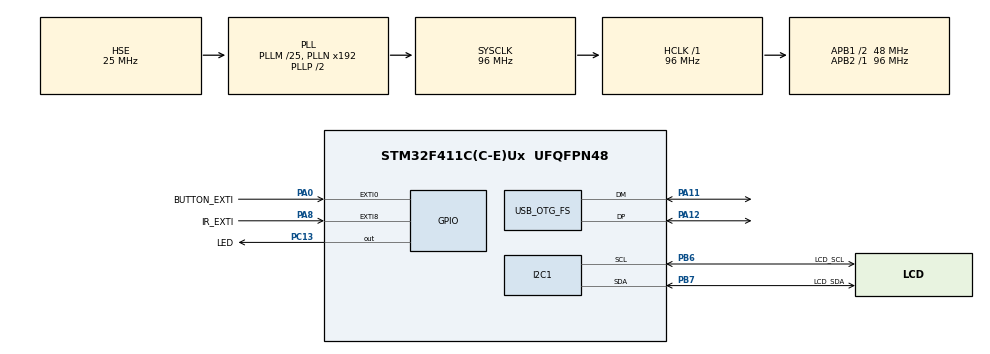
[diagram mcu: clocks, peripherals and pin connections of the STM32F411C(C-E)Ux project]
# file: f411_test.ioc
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FREERTOS.Queues01=usbReceiveQueue,320,uint32_t,0,Dynamic,NULL,NULL
FREERTOS.Tasks01=defaultTask,24,128,StartDefaultTask,Default,NULL,Dynamic,NULL,NULL;usbTask,8,128,StartUsbTask,Default,NULL,Dynamic,NULL,NULL
FREERTOS.configENABLE_FPU=1
FREERTOS.configUSE_NEWLIB_REENTRANT=1
FREERTOS.configUSE_PREEMPTION=1
Mcu.Family=STM32F4
Mcu.Name=STM32F411C(C-E)Ux
Mcu.Package=UFQFPN48
NVIC.EXTI0_IRQn=true\:5\:0\:false\:false\:true\:true\:true\:true\:true
NVIC.EXTI9_5_IRQn=true\:5\:0\:false\:false\:true\:true\:true\:true\:true
NVIC.OTG_FS_IRQn=true\:5\:0\:false\:false\:true\:true\:true\:true\:true
NVIC.PriorityGroup=NVIC_PRIORITYGROUP_4
NVIC.RCC_IRQn=true\:5\:0\:false\:false\:true\:true\:true\:false\:true
NVIC.TIM1_TRG_COM_TIM11_IRQn=true\:15\:0\:false\:false\:true\:false\:false\:true\:true
NVIC.TimeBase=TIM1_TRG_COM_TIM11_IRQn
NVIC.TimeBaseIP=TIM11
PA0-WKUP.GPIO_Label=BUTTON_EXTI
PA0-WKUP.GPIO_ModeDefaultEXTI=GPIO_MODE_IT_FALLING
PA0-WKUP.GPIO_PuPd=GPIO_PULLUP
PA0-WKUP.Signal=GPXTI0
PA11.Mode=Device_Only
PA11.Signal=USB_OTG_FS_DM
PA12.Mode=Device_Only
PA12.Signal=USB_OTG_FS_DP
PA13.Mode=Serial_Wire
PA13.Signal=SYS_JTMS-SWDIO
PA14.Mode=Serial_Wire
PA14.Signal=SYS_JTCK-SWCLK
PA8.GPIO_Label=IR_EXTI
PA8.GPIO_ModeDefaultEXTI=GPIO_MODE_IT_RISING_FALLING
PA8.GPIO_PuPd=GPIO_PULLDOWN
PA8.Signal=GPXTI8
PB6.GPIO_Label=LCD_SCL
PB6.Mode=I2C
PB6.Signal=I2C1_SCL
PB7.GPIO_Label=LCD_SDA
PB7.Mode=I2C
PB7.Signal=I2C1_SDA
PC13-ANTI_TAMP.GPIO_Label=LED
PC13-ANTI_TAMP.Signal=GPIO_Output
PH0\ -\ OSC_IN.Mode=HSE-External-Oscillator
PH0\ -\ OSC_IN.Signal=RCC_OSC_IN
PH1\ -\ OSC_OUT.Mode=HSE-External-Oscillator
PH1\ -\ OSC_OUT.Signal=RCC_OSC_OUT
ProjectManager.HeapSize=0x200
ProjectManager.StackSize=0x400
ProjectManager.TargetToolchain=STM32CubeIDE
RCC.48MHZClocksFreq_Value=48000000
RCC.AHBFreq_Value=96000000
RCC.APB1CLKDivider=RCC_HCLK_DIV2
RCC.APB1Freq_Value=48000000
RCC.APB1TimFreq_Value=96000000
RCC.APB2Freq_Value=96000000
RCC.APB2TimFreq_Value=96000000
RCC.CortexFreq_Value=96000000
RCC.HCLKFreq_Value=96000000
RCC.HSE_VALUE=25000000
RCC.HSI_VALUE=16000000
RCC.LSE_VALUE=32768
RCC.PLLM=25
RCC.SYSCLKFreq_VALUE=96000000
RCC.SYSCLKSource=RCC_SYSCLKSOURCE_PLLCLK
RCC.VCOOutputFreq_Value=192000000
USB_DEVICE.CLASS_NAME_FS=CDC
USB_DEVICE.MANUFACTURER_STRING=Prygoon
USB_DEVICE.PRODUCT_STRING_CDC_FS=Black Pill
USB_DEVICE.VirtualMode=Cdc
USB_DEVICE.VirtualModeFS=Cdc_FS
USB_OTG_FS.VirtualMode=Device_Only
VP_FREERTOS_VS_CMSIS_V2.Mode=CMSIS_V2
VP_SYS_VS_tim11.Mode=TIM11
VP_USB_DEVICE_VS_USB_DEVICE_CDC_FS.Mode=CDC_FS
board=custom

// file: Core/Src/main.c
/* USER CODE BEGIN Header */
/**
  ******************************************************************************
  * @file           : main.c
  * @brief          : Main program body
  ******************************************************************************
  * @attention
  *
  * Copyright (c) 2022 STMicroelectronics.
  * All rights reserved.
  *
  * This software is licensed under terms that can be found in the LICENSE file
  * in the root directory of this software component.
  * If no LICENSE file comes with this software, it is provided AS-IS.
  *
  ******************************************************************************
  */
/* USER CODE END Header */
#include "main.h"
#include "cmsis_os.h"
#include "i2c.h"
#include "gpio.h"

void SystemClock_Config(void);

void MX_FREERTOS_Init(void);

int main(void) {

    /* MCU Configuration--------------------------------------------------------*/

    /* Reset of all peripherals, Initializes the Flash interface and the Systick. */
    HAL_Init();

    /* Configure the system clock */
    SystemClock_Config();

    /* Initialize all configured peripherals */
    MX_GPIO_Init();
    MX_I2C1_Init();

    /* Init scheduler */
    osKernelInitialize();  /* Call init function for freertos objects (in freertos.c) */
    MX_FREERTOS_Init();

    /* Start scheduler */
    osKernelStart();

    /* We should never get here as control is now taken by the scheduler */
    /* Infinite loop */
    /* USER CODE BEGIN WHILE */
#pragma clang diagnostic push
#pragma ide diagnostic ignored "EndlessLoop"
    while (1) {
        /* USER CODE END WHILE */

        /* USER CODE BEGIN 3 */
    }
#pragma clang diagnostic pop
    /* USER CODE END 3 */
}

void SystemClock_Config(void) {
    RCC_OscInitTypeDef RCC_OscInitStruct = {0};
    RCC_ClkInitTypeDef RCC_ClkInitStruct = {0};

    /** Configure the main internal regulator output voltage
    */
    __HAL_RCC_PWR_CLK_ENABLE();
    __HAL_PWR_VOLTAGESCALING_CONFIG(PWR_REGULATOR_VOLTAGE_SCALE1);

    /** Initializes the RCC Oscillators according to the specified parameters
    * in the RCC_OscInitTypeDef structure.
    */
    RCC_OscInitStruct.OscillatorType = RCC_OSCILLATORTYPE_HSE;
    RCC_OscInitStruct.HSEState = RCC_HSE_ON;
    RCC_OscInitStruct.PLL.PLLState = RCC_PLL_ON;
    RCC_OscInitStruct.PLL.PLLSource = RCC_PLLSOURCE_HSE;
    RCC_OscInitStruct.PLL.PLLM = 25;
    RCC_OscInitStruct.PLL.PLLN = 192;
    RCC_OscInitStruct.PLL.PLLP = RCC_PLLP_DIV2;
    RCC_OscInitStruct.PLL.PLLQ = 4;
    if (HAL_RCC_OscConfig(&RCC_OscInitStruct) != HAL_OK) {
        Error_Handler();
    }

    /** Initializes the CPU, AHB and APB buses clocks
    */
    RCC_ClkInitStruct.ClockType = RCC_CLOCKTYPE_HCLK | RCC_CLOCKTYPE_SYSCLK
                                  | RCC_CLOCKTYPE_PCLK1 | RCC_CLOCKTYPE_PCLK2;
    RCC_ClkInitStruct.SYSCLKSource = RCC_SYSCLKSOURCE_PLLCLK;
    RCC_ClkInitStruct.AHBCLKDivider = RCC_SYSCLK_DIV1;
    RCC_ClkInitStruct.APB1CLKDivider = RCC_HCLK_DIV2;
    RCC_ClkInitStruct.APB2CLKDivider = RCC_HCLK_DIV1;

    if (HAL_RCC_ClockConfig(&RCC_ClkInitStruct, FLASH_LATENCY_3) != HAL_OK) {
        Error_Handler();
    }
}

void HAL_TIM_PeriodElapsedCallback(TIM_HandleTypeDef *htim) {
    if (htim->Instance == TIM11) {
        HAL_IncTick();
    }
}

void Error_Handler(void) {
    /* USER CODE BEGIN Error_Handler_Debug */
    /* User can add his own implementation to report the HAL error return state */
    __disable_irq();
#pragma clang diagnostic push
#pragma ide diagnostic ignored "EndlessLoop"
    while (1) {
    }
#pragma clang diagnostic pop
    /* USER CODE END Error_Handler_Debug */
}

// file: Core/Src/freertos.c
/* USER CODE BEGIN Header */
/**
  ******************************************************************************
  * File Name          : freertos.c
  * Description        : Code for freertos applications
  ******************************************************************************
  * @attention
  *
  * Copyright (c) 2022 STMicroelectronics.
  * All rights reserved.
  *
  * This software is licensed under terms that can be found in the LICENSE file
  * in the root directory of this software component.
  * If no LICENSE file comes with this software, it is provided AS-IS.
  *
  ******************************************************************************
  */
/* USER CODE END Header */

#include "FreeRTOS.h"
#include "main.h"
#include "cmsis_os.h"

/* USER CODE BEGIN Includes */
#include "usbd_cdc_if.h"
/* USER CODE END Includes */

/* Definitions for defaultTask */
osThreadId_t defaultTaskHandle;
const osThreadAttr_t defaultTask_attributes = {
        .name = "defaultTask",
        .stack_size = 128 * 4,
        .priority = (osPriority_t) osPriorityNormal,
};
/* Definitions for usbTask */
osThreadId_t usbTaskHandle;
const osThreadAttr_t usbTask_attributes = {
        .name = "usbTask",
        .stack_size = 128 * 4,
        .priority = (osPriority_t) osPriorityLow,
};
/* Definitions for usbReceiveQueue */
osMessageQueueId_t usbReceiveQueueHandle;
const osMessageQueueAttr_t usbReceiveQueue_attributes = {
        .name = "usbReceiveQueue"
};

void StartDefaultTask(void *argument);

void StartUsbTask(void *argument);

extern void MX_USB_DEVICE_Init(void);

void MX_FREERTOS_Init(void); /* (MISRA C 2004 rule 8.1) */

void MX_FREERTOS_Init(void) {

    /* Create the queue(s) */
    /* creation of usbReceiveQueue */
    usbReceiveQueueHandle = osMessageQueueNew(320, sizeof(uint32_t), &usbReceiveQueue_attributes);

    /* Create the thread(s) */
    /* creation of defaultTask */
    defaultTaskHandle = osThreadNew(StartDefaultTask, NULL, &defaultTask_attributes);

    /* creation of usbTask */
    usbTaskHandle = osThreadNew(StartUsbTask, NULL, &usbTask_attributes);

}

void StartDefaultTask(void *argument) {
    /* init code for USB_DEVICE */
    MX_USB_DEVICE_Init();
    /* USER CODE BEGIN StartDefaultTask */
    const char *tx_data = "LED_toggled\n";
    /* Infinite loop */
#pragma clang diagnostic push
#pragma ide diagnostic ignored "EndlessLoop"
    for (;;) {
        HAL_GPIO_TogglePin(LED_GPIO_Port, LED_Pin);
        CDC_Transmit_FS((uint8_t *) tx_data, strlen(tx_data));
        osDelay(1000);
    }
#pragma clang diagnostic pop
    /* USER CODE END StartDefaultTask */
}

void StartUsbTask(void *argument) {
    /* USER CODE BEGIN StartUsbTask */
    char rx_data[64];
    /* Infinite loop */
#pragma clang diagnostic push
#pragma ide diagnostic ignored "EndlessLoop"
    for (;;) {

        if (osMessageQueueGetCount(usbReceiveQueueHandle) > 0) {
            osMessageQueueGet(usbReceiveQueueHandle, &rx_data, 0, 0);
            CDC_Transmit_FS((uint8_t *) rx_data, strlen(rx_data));
        }
        osDelay(1);

    }
#pragma clang diagnostic pop
    /* USER CODE END StartUsbTask */
}
